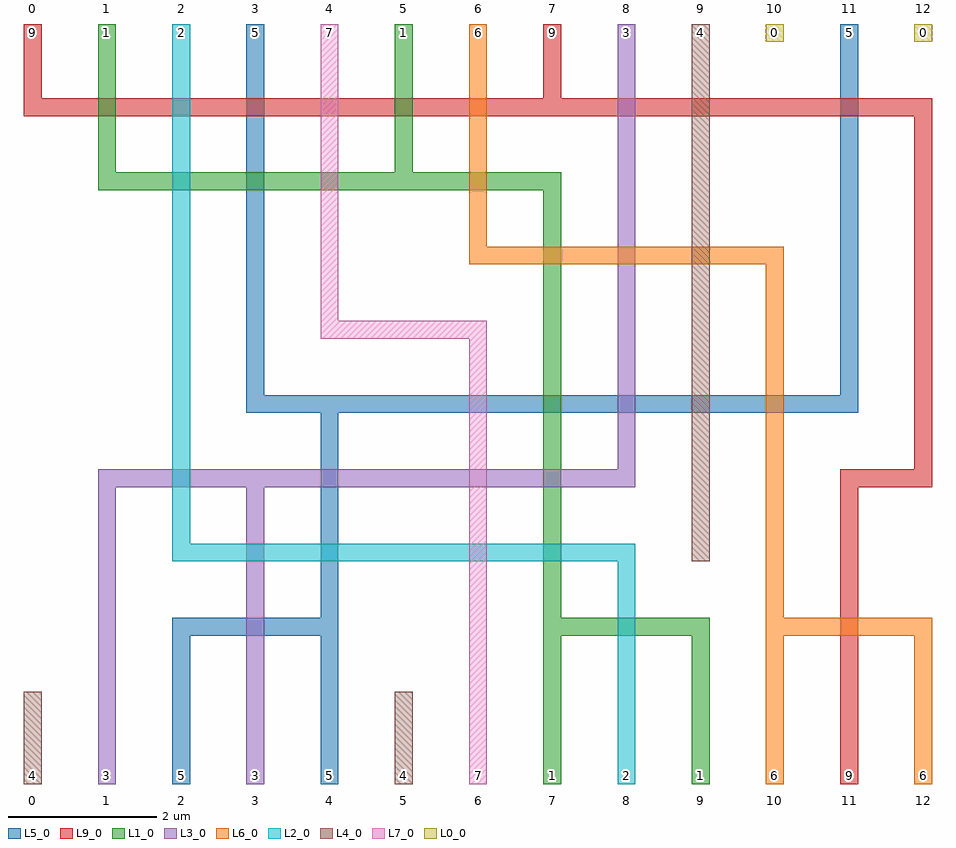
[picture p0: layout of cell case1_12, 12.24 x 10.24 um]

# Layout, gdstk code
import gdstk
lib = gdstk.Library(unit=1e-6, precision=1e-09)
def R(c, l, rs):  # rectangles x0, y0, x1, y1
    for r in rs: c.add(gdstk.rectangle(r[:2], r[2:], *l))
L0_0 = (0, 0)
L1_0 = (1, 0)
L2_0 = (2, 0)
L3_0 = (3, 0)
L4_0 = (4, 0)
L5_0 = (5, 0)
L6_0 = (6, 0)
L7_0 = (7, 0)
L9_0 = (9, 0)

case1_12 = lib.new_cell('case1_12')
R(case1_12, L0_0, [(9.88,9.88,10.12,10.12), (11.88,9.88,12.12,10.12)])
R(case1_12, L1_0, [(6.88,-0.12,7.12,2.12), (6.88,-0.12,7.12,0.12), (8.88,-0.12,9.12,2.12), (8.88,-0.12,9.12,0.12), (6.88,1.88,7.12,8.12), (6.88,1.88,9.12,2.12), (0.88,7.88,1.12,10.12), (0.88,7.88,7.12,8.12), (4.88,7.88,5.12,10.12), (0.88,9.88,1.12,10.12), (4.88,9.88,5.12,10.12)])
R(case1_12, L2_0, [(7.88,-0.12,8.12,3.12), (7.88,-0.12,8.12,0.12), (1.88,2.88,2.12,10.12), (1.88,2.88,8.12,3.12), (1.88,9.88,2.12,10.12)])
R(case1_12, L3_0, [(0.88,-0.12,1.12,4.12), (0.88,-0.12,1.12,0.12), (2.88,-0.12,3.12,4.12), (2.88,-0.12,3.12,0.12), (0.88,3.88,8.12,4.12), (7.88,3.88,8.12,8.12), (7.88,7.88,8.12,10.12), (7.88,9.88,8.12,10.12)])
R(case1_12, L4_0, [(-0.12,-0.12,0.12,1.12), (-0.12,-0.12,0.12,0.12), (4.88,-0.12,5.12,1.12), (4.88,-0.12,5.12,0.12), (8.88,2.88,9.12,8.12), (8.88,2.88,9.12,8.12), (8.88,7.88,9.12,10.12), (8.88,9.88,9.12,10.12)])
R(case1_12, L5_0, [(1.88,-0.12,2.12,2.12), (1.88,-0.12,2.12,0.12), (3.88,-0.12,4.12,2.12), (3.88,-0.12,4.12,0.12), (1.88,1.88,4.12,2.12), (3.88,1.88,4.12,5.12), (2.88,4.88,3.12,10.12), (2.88,4.88,11.12,5.12), (10.88,4.88,11.12,8.12), (10.88,7.88,11.12,10.12), (2.88,9.88,3.12,10.12), (10.88,9.88,11.12,10.12)])
R(case1_12, L6_0, [(9.88,-0.12,10.12,2.12), (9.88,-0.12,10.12,0.12), (11.88,-0.12,12.12,2.12), (11.88,-0.12,12.12,0.12), (9.88,1.88,10.12,7.12), (9.88,1.88,12.12,2.12), (5.88,6.88,6.12,10.12), (5.88,6.88,10.12,7.12), (5.88,9.88,6.12,10.12)])
R(case1_12, L7_0, [(5.88,-0.12,6.12,2.12), (5.88,-0.12,6.12,0.12), (5.88,1.88,6.12,6.12), (3.88,5.88,4.12,10.12), (3.88,5.88,6.12,6.12), (3.88,9.88,4.12,10.12)])
R(case1_12, L9_0, [(10.88,-0.12,11.12,4.12), (10.88,-0.12,11.12,0.12), (10.88,3.88,12.12,4.12), (11.88,3.88,12.12,9.12), (-0.12,8.88,0.12,10.12), (-0.12,8.88,12.12,9.12), (6.88,8.88,7.12,10.12), (-0.12,9.88,0.12,10.12), (6.88,9.88,7.12,10.12)])
case1_12.add(gdstk.Label('0', (0,10.4), layer=215, texttype=1))
case1_12.add(gdstk.Label('9', (0,10), layer=215, texttype=1))
case1_12.add(gdstk.Label('1', (1,10.4), layer=215, texttype=1))
case1_12.add(gdstk.Label('1', (1,10), layer=215, texttype=1))
case1_12.add(gdstk.Label('2', (2,10.4), layer=215, texttype=1))
case1_12.add(gdstk.Label('2', (2,10), layer=215, texttype=1))
case1_12.add(gdstk.Label('3', (3,10.4), layer=215, texttype=1))
case1_12.add(gdstk.Label('5', (3,10), layer=215, texttype=1))
case1_12.add(gdstk.Label('4', (4,10.4), layer=215, texttype=1))
case1_12.add(gdstk.Label('7', (4,10), layer=215, texttype=1))
case1_12.add(gdstk.Label('5', (5,10.4), layer=215, texttype=1))
case1_12.add(gdstk.Label('1', (5,10), layer=215, texttype=1))
case1_12.add(gdstk.Label('6', (6,10.4), layer=215, texttype=1))
case1_12.add(gdstk.Label('6', (6,10), layer=215, texttype=1))
case1_12.add(gdstk.Label('7', (7,10.4), layer=215, texttype=1))
case1_12.add(gdstk.Label('9', (7,10), layer=215, texttype=1))
case1_12.add(gdstk.Label('8', (8,10.4), layer=215, texttype=1))
case1_12.add(gdstk.Label('3', (8,10), layer=215, texttype=1))
case1_12.add(gdstk.Label('9', (9,10.4), layer=215, texttype=1))
case1_12.add(gdstk.Label('4', (9,10), layer=215, texttype=1))
case1_12.add(gdstk.Label('10', (10,10.4), layer=215, texttype=1))
case1_12.add(gdstk.Label('0', (10,10), layer=215, texttype=1))
case1_12.add(gdstk.Label('11', (11,10.4), layer=215, texttype=1))
case1_12.add(gdstk.Label('5', (11,10), layer=215, texttype=1))
case1_12.add(gdstk.Label('12', (12,10.4), layer=215, texttype=1))
case1_12.add(gdstk.Label('0', (12,10), layer=215, texttype=1))
case1_12.add(gdstk.Label('0', (0,-0.4), layer=215, texttype=1))
case1_12.add(gdstk.Label('4', (0,0), layer=215, texttype=1))
case1_12.add(gdstk.Label('1', (1,-0.4), layer=215, texttype=1))
case1_12.add(gdstk.Label('3', (1,0), layer=215, texttype=1))
case1_12.add(gdstk.Label('2', (2,-0.4), layer=215, texttype=1))
case1_12.add(gdstk.Label('5', (2,0), layer=215, texttype=1))
case1_12.add(gdstk.Label('3', (3,-0.4), layer=215, texttype=1))
case1_12.add(gdstk.Label('3', (3,0), layer=215, texttype=1))
case1_12.add(gdstk.Label('4', (4,-0.4), layer=215, texttype=1))
case1_12.add(gdstk.Label('5', (4,0), layer=215, texttype=1))
case1_12.add(gdstk.Label('5', (5,-0.4), layer=215, texttype=1))
case1_12.add(gdstk.Label('4', (5,0), layer=215, texttype=1))
case1_12.add(gdstk.Label('6', (6,-0.4), layer=215, texttype=1))
case1_12.add(gdstk.Label('7', (6,0), layer=215, texttype=1))
case1_12.add(gdstk.Label('7', (7,-0.4), layer=215, texttype=1))
case1_12.add(gdstk.Label('1', (7,0), layer=215, texttype=1))
case1_12.add(gdstk.Label('8', (8,-0.4), layer=215, texttype=1))
case1_12.add(gdstk.Label('2', (8,0), layer=215, texttype=1))
case1_12.add(gdstk.Label('9', (9,-0.4), layer=215, texttype=1))
case1_12.add(gdstk.Label('1', (9,0), layer=215, texttype=1))
case1_12.add(gdstk.Label('10', (10,-0.4), layer=215, texttype=1))
case1_12.add(gdstk.Label('6', (10,0), layer=215, texttype=1))
case1_12.add(gdstk.Label('11', (11,-0.4), layer=215, texttype=1))
case1_12.add(gdstk.Label('9', (11,0), layer=215, texttype=1))
case1_12.add(gdstk.Label('12', (12,-0.4), layer=215, texttype=1))
case1_12.add(gdstk.Label('6', (12,0), layer=215, texttype=1))

lib.write_gds('case1_12.gds')
